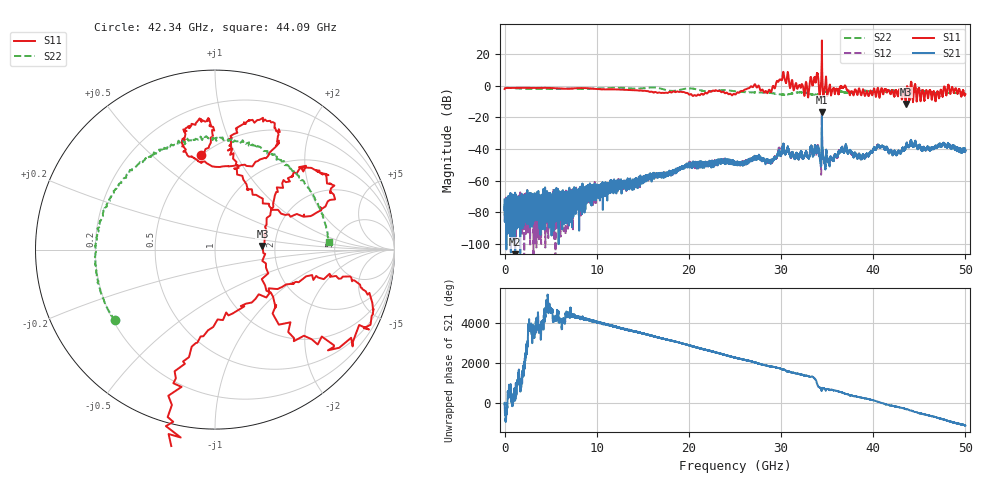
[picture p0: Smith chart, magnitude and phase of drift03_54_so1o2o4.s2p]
!Created with skrf (http://scikit-rf.org).
# Hz S RI R 50.0
!freq ReS11 ImS11 ReS21 ImS21 ReS12 ImS12 ReS22 ImS22
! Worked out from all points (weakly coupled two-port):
!   10000 points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, 5.3 MHz to 50 GHz, reference 50 ohm
!   highest |S21| = -16.70 dB at 34.43 GHz (marker M1); lowest = -115.1 dB at 1.155 GHz (marker M2)
!   lowest |S11| = -11.5 dB at 43.52 GHz (marker M3), VSWR 1.72, Z = 85.9 + j3.74 ohm
!   |S11| at or under -10 dB: 43.48617 GHz to 43.54326 GHz (57.09 MHz wide, 0.131 % of centre); 43.54755 GHz to 43.55126 GHz (3.712 MHz wide, 0.00852 % of centre); 44.31061 GHz to 44.31748 GHz (6.868 MHz wide, 0.0155 % of centre)
!   |S22| runs from -5.8 to -1.1 dB; largest |S21 - S12| = 0.046
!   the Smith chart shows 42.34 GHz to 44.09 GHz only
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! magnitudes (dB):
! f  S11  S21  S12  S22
! 5.3 MHz  -2.1  -71.9  -71.6  -1.3
! 1.155 GHz  -1.4  -115.1  -79.1  -1.6
! 5.005 GHz  -1.5  -79.4  -77.8  -2.1
! 8.34 GHz  -1.5  -66.8  -72.3  -2.1
! 16.67 GHz  -4.4  -57.5  -56.8  -1.5
! 20.17 GHz  -5.4  -49.4  -50.2  -1.7
! 25.01 GHz  -5.5  -48.9  -49.8  -3.5
! 27.02 GHz  -0.3  -45.9  -45.5  -4.3
! 28.72 GHz  -2.5  -48.1  -47.9  -4.5
! 30.14 GHz  4.4  -40.1  -41.2  -5.7
! 32.74 GHz  2.0  -42.3  -41.6  -4.6
! 33.34 GHz  2.6  -39.3  -40.2  -5.5
! 33.82 GHz  4.0  -42.1  -41.8  -5.7
! 34.43 GHz  28.6  -16.7  -18.6  -4.6
! 35.29 GHz  0.3  -48.4  -47.0  -3.4
! 36.83 GHz  -0.7  -42.1  -41.3  -4.2
! 38.86 GHz  -2.5  -44.2  -44.3  -3.2
! 40.6 GHz  -4.5  -38.0  -38.3  -4.0
! 41.67 GHz  -2.9  -42.1  -42.0  -3.3
! 43.52 GHz  -11.5  -38.4  -39.4  -4.2
! 48.32 GHz  -4.4  -38.2  -38.1  -4.5
! 50 GHz  -5.4  -41.2  -40.4  -4.5
